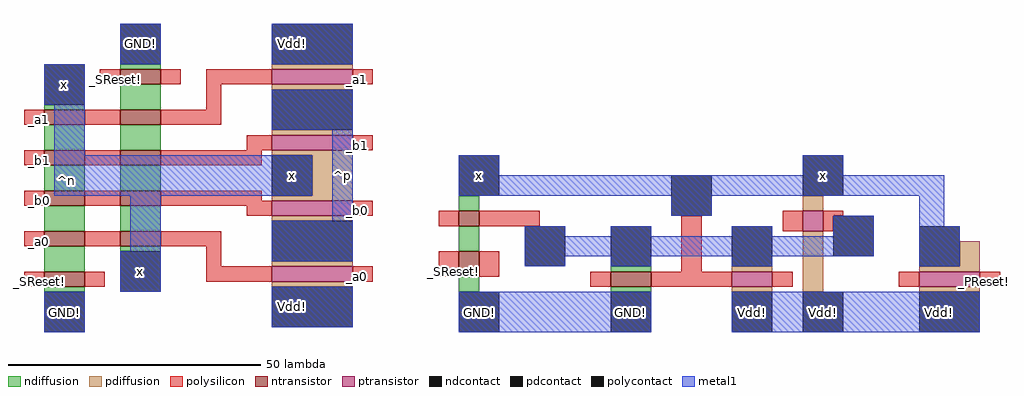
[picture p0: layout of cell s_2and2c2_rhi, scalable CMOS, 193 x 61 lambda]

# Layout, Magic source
magic
tech scmos
<< ndiffusion >>
rect -156 144 -148 145
rect -171 136 -163 137
rect -156 136 -148 141
rect -171 128 -163 133
rect -156 128 -148 133
rect -171 120 -163 125
rect -156 120 -148 125
rect -171 112 -163 117
rect -156 112 -148 117
rect -89 116 -85 119
rect -171 104 -163 109
rect -156 108 -148 109
rect -171 100 -163 101
rect -89 108 -85 113
rect -59 104 -51 105
rect -89 100 -85 103
rect -59 100 -51 101
<< pdiffusion >>
rect -126 144 -110 145
rect -126 140 -110 141
rect -126 131 -110 132
rect -126 127 -110 128
rect -118 119 -110 127
rect -126 118 -110 119
rect -126 114 -110 115
rect -21 116 -17 119
rect -126 105 -110 106
rect -35 104 -27 105
rect -126 101 -110 102
rect -35 100 -27 101
rect -21 100 -17 112
rect 10 105 14 110
rect 2 104 14 105
rect 2 100 14 101
<< ntransistor >>
rect -156 141 -148 144
rect -171 133 -163 136
rect -156 133 -148 136
rect -171 125 -163 128
rect -156 125 -148 128
rect -171 117 -163 120
rect -156 117 -148 120
rect -171 109 -163 112
rect -156 109 -148 112
rect -171 101 -163 104
rect -89 113 -85 116
rect -89 103 -85 108
rect -59 101 -51 104
<< ptransistor >>
rect -126 141 -110 144
rect -126 128 -110 131
rect -126 115 -110 118
rect -126 102 -110 105
rect -21 112 -17 116
rect -35 101 -27 104
rect 2 101 14 104
<< polysilicon >>
rect -160 141 -156 144
rect -148 141 -144 144
rect -139 141 -126 144
rect -110 141 -106 144
rect -139 136 -136 141
rect -175 133 -171 136
rect -163 133 -156 136
rect -148 133 -136 136
rect -131 128 -126 131
rect -110 128 -106 131
rect -175 125 -171 128
rect -163 125 -156 128
rect -148 125 -128 128
rect -175 117 -171 120
rect -163 117 -156 120
rect -148 118 -128 120
rect -148 117 -126 118
rect -131 115 -126 117
rect -110 115 -106 118
rect -175 109 -171 112
rect -163 109 -156 112
rect -148 109 -136 112
rect -175 101 -171 104
rect -163 101 -159 104
rect -139 105 -136 109
rect -93 113 -89 116
rect -85 113 -73 116
rect -139 102 -126 105
rect -110 102 -106 105
rect -93 103 -89 108
rect -85 103 -81 108
rect -45 104 -41 115
rect -25 112 -21 116
rect -17 115 -13 116
rect -17 112 -15 115
rect -63 101 -59 104
rect -51 101 -35 104
rect -27 101 -23 104
rect -2 101 2 104
rect 14 101 18 104
<< ndcontact >>
rect -156 145 -148 153
rect -171 137 -163 145
rect -89 119 -81 127
rect -156 100 -148 108
rect -59 105 -51 113
rect -171 92 -163 100
rect -89 92 -81 100
rect -59 92 -51 100
<< pdcontact >>
rect -126 145 -110 153
rect -126 132 -110 140
rect -126 119 -118 127
rect -126 106 -110 114
rect -21 119 -13 127
rect -35 105 -27 113
rect -126 93 -110 101
rect -35 92 -27 100
rect 2 105 10 113
rect -21 92 -13 100
rect 2 92 14 100
<< polycontact >>
rect -47 115 -39 123
rect -76 105 -68 113
rect -15 107 -7 115
<< metal1 >>
rect -156 145 -148 153
rect -126 145 -110 153
rect -171 137 -163 145
rect -169 127 -163 137
rect -126 132 -110 140
rect -169 119 -118 127
rect -154 108 -148 119
rect -114 114 -110 132
rect -89 123 -81 127
rect -21 123 -13 127
rect -89 119 7 123
rect -47 115 -39 119
rect -156 100 -148 108
rect -126 106 -110 114
rect -76 111 -68 113
rect -59 111 -51 113
rect -35 111 -27 113
rect -15 111 -7 115
rect -76 107 -7 111
rect 2 113 7 119
rect -76 105 -68 107
rect -59 105 -51 107
rect -35 105 -27 107
rect 2 105 10 113
rect -171 92 -163 100
rect -126 93 -110 101
rect -89 92 -51 100
rect -35 92 14 100
<< labels >>
rlabel metal1 -122 123 -122 123 1 x
rlabel metal1 -122 149 -122 149 5 Vdd!
rlabel metal1 -122 97 -122 97 1 Vdd!
rlabel metal1 -152 104 -152 104 1 x
rlabel metal1 -152 149 -152 149 5 GND!
rlabel metal1 -167 141 -167 141 5 x
rlabel metal1 -167 96 -167 96 1 GND!
rlabel polysilicon -157 142 -157 142 1 _SReset!
rlabel polysilicon -172 102 -172 102 3 _SReset!
rlabel polysilicon -172 110 -172 110 3 _a0
rlabel polysilicon -172 134 -172 134 3 _a1
rlabel polysilicon -172 118 -172 118 3 _b0
rlabel polysilicon -172 126 -172 126 3 _b1
rlabel polysilicon -109 103 -109 103 3 _a0
rlabel polysilicon -109 116 -109 116 3 _b0
rlabel polysilicon -109 129 -109 129 3 _b1
rlabel polysilicon -109 142 -109 142 3 _a1
rlabel space -176 92 -171 145 7 ^n
rlabel space -177 91 -156 153 7 ^n
rlabel space -119 92 -105 154 3 ^p
rlabel ndcontact -55 96 -55 96 1 GND!
rlabel pdcontact -31 96 -31 96 1 Vdd!
rlabel polysilicon -90 104 -90 104 1 _SReset!
rlabel metal1 -85 123 -85 123 1 x
rlabel metal1 -17 96 -17 96 1 Vdd!
rlabel metal1 -17 123 -17 123 1 x
rlabel metal1 6 96 6 96 8 Vdd!
rlabel polysilicon 15 102 15 102 7 _PReset!
rlabel metal1 -85 96 -85 96 1 GND!
<< end >>
